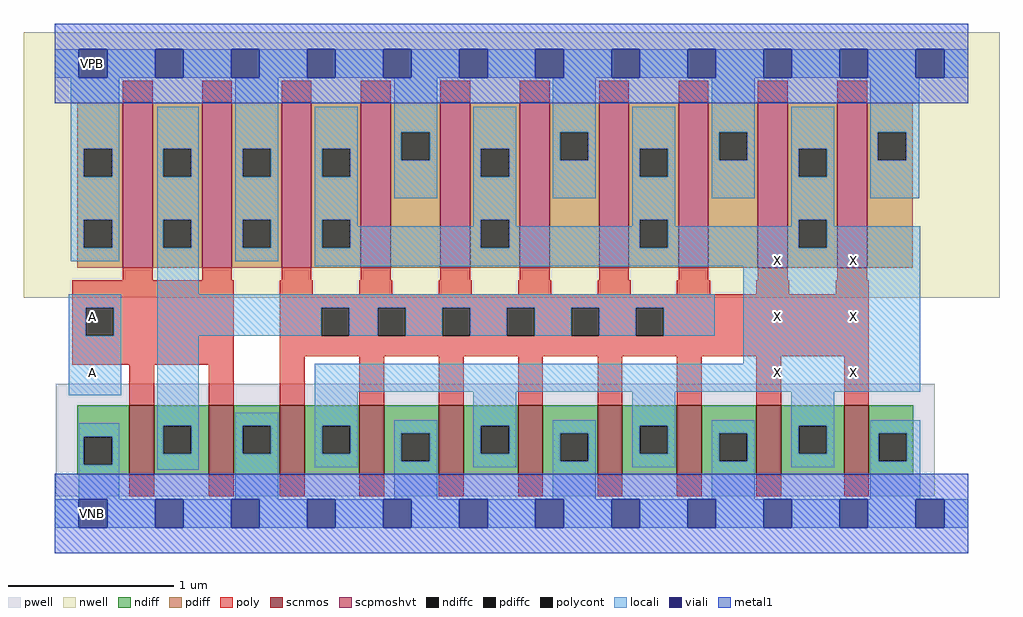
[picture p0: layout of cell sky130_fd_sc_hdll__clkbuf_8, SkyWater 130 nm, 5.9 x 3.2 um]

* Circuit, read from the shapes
.subckt sky130_fd_sc_hdll__clkbuf_8 A VGND VNB VPB VPWR X
XM1 n1 A VGND VNB sky130_fd_pr__nfet_01v8 w=0.42 l=0.15 m=2
XM2 X n1 VGND VNB sky130_fd_pr__nfet_01v8 w=0.42 l=0.15 m=8
XM3 n1 A VPWR VPB sky130_fd_pr__pfet_01v8_hvt w=1 l=0.18 m=2
XM4 X n1 VPWR VPB sky130_fd_pr__pfet_01v8_hvt w=1 l=0.18 m=8
.ends

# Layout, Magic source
magic
tech sky130A
magscale 1 2
<< nwell >>
rect -38 261 1142 582
<< pwell >>
rect 1 21 1064 157
rect 29 -17 63 21
<< scnmos >>
rect 90 47 120 131
rect 186 47 216 131
rect 272 47 302 131
rect 368 47 398 131
rect 464 47 494 131
rect 560 47 590 131
rect 656 47 686 131
rect 752 47 782 131
rect 848 47 878 131
rect 954 47 984 131
<< scpmoshvt >>
rect 82 297 118 497
rect 178 297 214 497
rect 274 297 310 497
rect 370 297 406 497
rect 466 297 502 497
rect 562 297 598 497
rect 658 297 694 497
rect 754 297 790 497
rect 850 297 886 497
rect 946 297 982 497
<< ndiff >>
rect 27 93 90 131
rect 27 59 35 93
rect 69 59 90 93
rect 27 47 90 59
rect 120 106 186 131
rect 120 72 131 106
rect 165 72 186 106
rect 120 47 186 72
rect 216 106 272 131
rect 216 72 227 106
rect 261 72 272 106
rect 216 47 272 72
rect 302 106 368 131
rect 302 72 323 106
rect 357 72 368 106
rect 302 47 368 72
rect 398 97 464 131
rect 398 63 419 97
rect 453 63 464 97
rect 398 47 464 63
rect 494 106 560 131
rect 494 72 515 106
rect 549 72 560 106
rect 494 47 560 72
rect 590 97 656 131
rect 590 63 611 97
rect 645 63 656 97
rect 590 47 656 63
rect 686 106 752 131
rect 686 72 707 106
rect 741 72 752 106
rect 686 47 752 72
rect 782 97 848 131
rect 782 63 803 97
rect 837 63 848 97
rect 782 47 848 63
rect 878 106 954 131
rect 878 72 899 106
rect 933 72 954 106
rect 878 47 954 72
rect 984 97 1038 131
rect 984 63 996 97
rect 1030 63 1038 97
rect 984 47 1038 63
<< pdiff >>
rect 27 441 82 497
rect 27 407 35 441
rect 69 407 82 441
rect 27 355 82 407
rect 27 321 35 355
rect 69 321 82 355
rect 27 297 82 321
rect 118 441 178 497
rect 118 407 131 441
rect 165 407 178 441
rect 118 355 178 407
rect 118 321 131 355
rect 165 321 178 355
rect 118 297 178 321
rect 214 441 274 497
rect 214 407 227 441
rect 261 407 274 441
rect 214 355 274 407
rect 214 321 227 355
rect 261 321 274 355
rect 214 297 274 321
rect 310 441 370 497
rect 310 407 323 441
rect 357 407 370 441
rect 310 355 370 407
rect 310 321 323 355
rect 357 321 370 355
rect 310 297 370 321
rect 406 461 466 497
rect 406 427 419 461
rect 453 427 466 461
rect 406 297 466 427
rect 502 441 562 497
rect 502 407 515 441
rect 549 407 562 441
rect 502 355 562 407
rect 502 321 515 355
rect 549 321 562 355
rect 502 297 562 321
rect 598 461 658 497
rect 598 427 611 461
rect 645 427 658 461
rect 598 297 658 427
rect 694 441 754 497
rect 694 407 707 441
rect 741 407 754 441
rect 694 355 754 407
rect 694 321 707 355
rect 741 321 754 355
rect 694 297 754 321
rect 790 461 850 497
rect 790 427 803 461
rect 837 427 850 461
rect 790 297 850 427
rect 886 441 946 497
rect 886 407 899 441
rect 933 407 946 441
rect 886 355 946 407
rect 886 321 899 355
rect 933 321 946 355
rect 886 297 946 321
rect 982 461 1037 497
rect 982 427 995 461
rect 1029 427 1037 461
rect 982 297 1037 427
<< ndiffc >>
rect 35 59 69 93
rect 131 72 165 106
rect 227 72 261 106
rect 323 72 357 106
rect 419 63 453 97
rect 515 72 549 106
rect 611 63 645 97
rect 707 72 741 106
rect 803 63 837 97
rect 899 72 933 106
rect 996 63 1030 97
<< pdiffc >>
rect 35 407 69 441
rect 35 321 69 355
rect 131 407 165 441
rect 131 321 165 355
rect 227 407 261 441
rect 227 321 261 355
rect 323 407 357 441
rect 323 321 357 355
rect 419 427 453 461
rect 515 407 549 441
rect 515 321 549 355
rect 611 427 645 461
rect 707 407 741 441
rect 707 321 741 355
rect 803 427 837 461
rect 899 407 933 441
rect 899 321 933 355
rect 995 427 1029 461
<< poly >>
rect 82 497 118 523
rect 178 497 214 523
rect 274 497 310 523
rect 370 497 406 523
rect 466 497 502 523
rect 562 497 598 523
rect 658 497 694 523
rect 754 497 790 523
rect 850 497 886 523
rect 946 497 982 523
rect 82 282 118 297
rect 178 282 214 297
rect 274 282 310 297
rect 370 282 406 297
rect 466 282 502 297
rect 562 282 598 297
rect 658 282 694 297
rect 754 282 790 297
rect 850 282 886 297
rect 946 282 982 297
rect 21 249 216 282
rect 21 215 37 249
rect 71 215 216 249
rect 21 180 216 215
rect 90 131 120 180
rect 186 131 216 180
rect 272 265 312 282
rect 368 265 408 282
rect 464 265 504 282
rect 560 265 600 282
rect 656 265 696 282
rect 752 265 792 282
rect 848 265 888 282
rect 944 265 984 282
rect 272 249 984 265
rect 272 215 322 249
rect 356 215 390 249
rect 424 215 468 249
rect 502 215 546 249
rect 580 215 624 249
rect 658 215 702 249
rect 736 215 984 249
rect 272 190 984 215
rect 272 131 302 190
rect 368 131 398 190
rect 464 131 494 190
rect 560 131 590 190
rect 656 131 686 190
rect 752 131 782 190
rect 848 131 878 190
rect 954 131 984 190
rect 90 21 120 47
rect 186 21 216 47
rect 272 21 302 47
rect 368 21 398 47
rect 464 21 494 47
rect 560 21 590 47
rect 656 21 686 47
rect 752 21 782 47
rect 848 21 878 47
rect 954 21 984 47
<< polycont >>
rect 37 215 71 249
rect 322 215 356 249
rect 390 215 424 249
rect 468 215 502 249
rect 546 215 580 249
rect 624 215 658 249
rect 702 215 736 249
<< locali >>
rect 0 527 29 561
rect 63 527 121 561
rect 155 527 213 561
rect 247 527 305 561
rect 339 527 397 561
rect 431 527 489 561
rect 523 527 581 561
rect 615 527 673 561
rect 707 527 765 561
rect 799 527 857 561
rect 891 527 949 561
rect 983 527 1041 561
rect 1075 527 1104 561
rect 19 441 78 527
rect 19 407 35 441
rect 69 407 78 441
rect 19 355 78 407
rect 19 321 35 355
rect 69 321 78 355
rect 19 305 78 321
rect 124 441 174 492
rect 124 407 131 441
rect 165 407 174 441
rect 124 355 174 407
rect 124 321 131 355
rect 165 321 174 355
rect 124 265 174 321
rect 218 441 270 527
rect 218 407 227 441
rect 261 407 270 441
rect 218 355 270 407
rect 218 321 227 355
rect 261 321 270 355
rect 218 305 270 321
rect 314 441 366 492
rect 314 407 323 441
rect 357 407 366 441
rect 314 355 366 407
rect 410 461 462 527
rect 410 427 419 461
rect 453 427 462 461
rect 410 381 462 427
rect 506 441 558 492
rect 506 407 515 441
rect 549 407 558 441
rect 314 321 323 355
rect 357 347 366 355
rect 506 355 558 407
rect 602 461 654 527
rect 602 427 611 461
rect 645 427 654 461
rect 602 381 654 427
rect 698 441 750 492
rect 698 407 707 441
rect 741 407 750 441
rect 506 347 515 355
rect 357 321 515 347
rect 549 347 558 355
rect 698 355 750 407
rect 794 461 846 527
rect 794 427 803 461
rect 837 427 846 461
rect 794 381 846 427
rect 890 441 942 492
rect 890 407 899 441
rect 933 407 942 441
rect 698 347 707 355
rect 549 321 707 347
rect 741 347 750 355
rect 890 355 942 407
rect 986 461 1045 527
rect 986 427 995 461
rect 1029 427 1045 461
rect 986 381 1045 427
rect 890 347 899 355
rect 741 321 899 347
rect 933 347 942 355
rect 933 321 1046 347
rect 314 299 1046 321
rect 17 249 80 265
rect 17 215 37 249
rect 71 215 80 249
rect 17 143 80 215
rect 124 249 798 265
rect 124 215 322 249
rect 356 215 390 249
rect 424 215 468 249
rect 502 215 546 249
rect 580 215 624 249
rect 658 215 702 249
rect 736 215 798 249
rect 29 93 78 109
rect 29 59 35 93
rect 69 59 78 93
rect 29 17 78 59
rect 124 106 174 215
rect 832 181 1046 299
rect 314 147 1046 181
rect 124 72 131 106
rect 165 72 174 106
rect 124 53 174 72
rect 218 106 270 122
rect 218 72 227 106
rect 261 72 270 106
rect 218 17 270 72
rect 314 106 366 147
rect 314 72 323 106
rect 357 72 366 106
rect 314 56 366 72
rect 410 97 462 113
rect 410 63 419 97
rect 453 63 462 97
rect 410 17 462 63
rect 506 106 558 147
rect 506 72 515 106
rect 549 72 558 106
rect 506 56 558 72
rect 602 97 654 113
rect 602 63 611 97
rect 645 63 654 97
rect 602 17 654 63
rect 698 106 750 147
rect 698 72 707 106
rect 741 72 750 106
rect 698 56 750 72
rect 794 97 846 113
rect 794 63 803 97
rect 837 63 846 97
rect 794 17 846 63
rect 890 106 942 147
rect 890 72 899 106
rect 933 72 942 106
rect 890 56 942 72
rect 986 97 1046 113
rect 986 63 996 97
rect 1030 63 1046 97
rect 986 17 1046 63
rect 0 -17 29 17
rect 63 -17 121 17
rect 155 -17 213 17
rect 247 -17 305 17
rect 339 -17 397 17
rect 431 -17 489 17
rect 523 -17 581 17
rect 615 -17 673 17
rect 707 -17 765 17
rect 799 -17 857 17
rect 891 -17 949 17
rect 983 -17 1041 17
rect 1075 -17 1104 17
<< viali >>
rect 29 527 63 561
rect 121 527 155 561
rect 213 527 247 561
rect 305 527 339 561
rect 397 527 431 561
rect 489 527 523 561
rect 581 527 615 561
rect 673 527 707 561
rect 765 527 799 561
rect 857 527 891 561
rect 949 527 983 561
rect 1041 527 1075 561
rect 29 -17 63 17
rect 121 -17 155 17
rect 213 -17 247 17
rect 305 -17 339 17
rect 397 -17 431 17
rect 489 -17 523 17
rect 581 -17 615 17
rect 673 -17 707 17
rect 765 -17 799 17
rect 857 -17 891 17
rect 949 -17 983 17
rect 1041 -17 1075 17
<< metal1 >>
rect 0 561 1104 592
rect 0 527 29 561
rect 63 527 121 561
rect 155 527 213 561
rect 247 527 305 561
rect 339 527 397 561
rect 431 527 489 561
rect 523 527 581 561
rect 615 527 673 561
rect 707 527 765 561
rect 799 527 857 561
rect 891 527 949 561
rect 983 527 1041 561
rect 1075 527 1104 561
rect 0 496 1104 527
rect 0 17 1104 48
rect 0 -17 29 17
rect 63 -17 121 17
rect 155 -17 213 17
rect 247 -17 305 17
rect 339 -17 397 17
rect 431 -17 489 17
rect 523 -17 581 17
rect 615 -17 673 17
rect 707 -17 765 17
rect 799 -17 857 17
rect 891 -17 949 17
rect 983 -17 1041 17
rect 1075 -17 1104 17
rect 0 -48 1104 -17
<< labels >>
flabel locali s 949 289 983 323 0 FreeSans 200 0 0 0 X
port 6 nsew signal output
flabel locali s 949 153 983 187 0 FreeSans 200 0 0 0 X
port 6 nsew signal output
flabel locali s 29 153 63 187 0 FreeSans 200 0 0 0 A
port 1 nsew signal input
flabel locali s 856 153 890 187 0 FreeSans 200 0 0 0 X
port 6 nsew signal output
flabel locali s 856 289 890 323 0 FreeSans 200 0 0 0 X
port 6 nsew signal output
flabel locali s 949 221 983 255 0 FreeSans 200 0 0 0 X
port 6 nsew signal output
flabel locali s 29 221 63 255 0 FreeSans 200 0 0 0 A
port 1 nsew signal input
flabel locali s 856 221 890 255 0 FreeSans 200 0 0 0 X
port 6 nsew signal output
flabel nwell s 29 527 63 561 0 FreeSans 200 0 0 0 VPB
port 4 nsew power bidirectional
flabel pwell s 29 -17 63 17 0 FreeSans 200 0 0 0 VNB
port 3 nsew ground bidirectional
flabel metal1 s 29 -17 63 17 0 FreeSans 200 0 0 0 VGND
port 2 nsew ground bidirectional
flabel metal1 s 29 527 63 561 0 FreeSans 200 0 0 0 VPWR
port 5 nsew power bidirectional
rlabel comment s 0 0 0 0 4 clkbuf_8
<< properties >>
string LEFsite unithd
string LEFclass CORE
string FIXED_BBOX 0 0 1104 544
string GDS_FILE $PDKPATH/libs.ref/sky130_fd_sc_hdll/gds/sky130_fd_sc_hdll.gds
string LEFsymmetry X Y R90
string GDS_END 876676
string GDS_START 868470
string LEFproperties maskLayoutSubType "abstract" prCellType "standard" originalViewName "layout"
<< end >>
